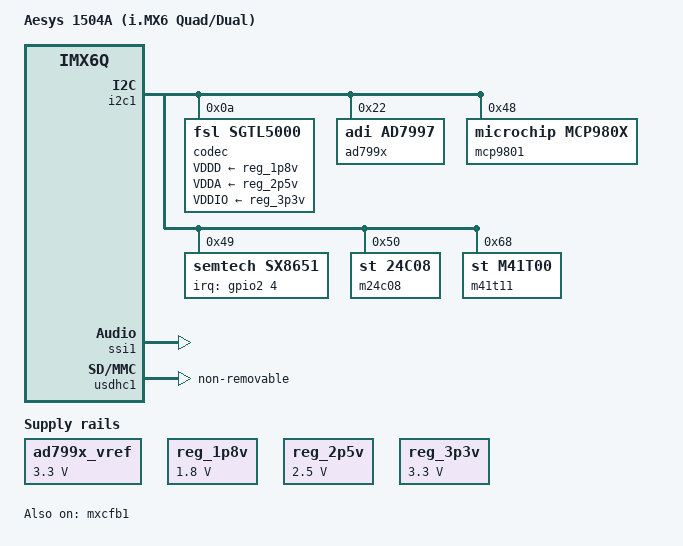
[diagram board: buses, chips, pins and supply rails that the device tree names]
/*
 * Copyright (C) 2013-2014 Freescale Semiconductor, Inc.
 *
 * This program is free software; you can redistribute it and/or modify
 * it under the terms of the GNU General Public License version 2 as
 * published by the Free Software Foundation.
 */

/dts-v1/;

#include "imx6q.dtsi"
#include "apollo-common.dtsi"

/ {
	model = "Aesys 1504A (i.MX6 Quad/Dual)";
	compatible = "aesys,imx6q-apollo", "umobo,imx6q-silverbullet", "fsl,imx6q";

	regulators {
		ad799x_vref: ad799x_3p3v {
			compatible = "regulator-fixed";
			regulator-name = "ad799x_vref";
			regulator-min-microvolt = <3300000>;
			regulator-max-microvolt = <3300000>;
		};

		reg_1p8v: 1p8v {
			compatible = "regulator-fixed";
			regulator-name = "1P8V";
			regulator-min-microvolt = <1800000>;
			regulator-max-microvolt = <1800000>;
			regulator-always-on;
		};

		reg_2p5v: 2p5v {
			compatible = "regulator-fixed";
			regulator-name = "2P5V";
			regulator-min-microvolt = <2500000>;
			regulator-max-microvolt = <2500000>;
			regulator-always-on;
		};

		reg_3p3v: 3p3v {
			compatible = "regulator-fixed";
			regulator-name = "3P3V";
			regulator-min-microvolt = <3300000>;
			regulator-max-microvolt = <3300000>;
			regulator-always-on;
		};
	};

	sound {
		compatible = "fsl,imx6q-sabrelite-sgtl5000",
			     "fsl,imx-audio-sgtl5000";
		model = "imx6q-sabrelite-sgtl5000";
		ssi-controller = <&ssi1>;
		audio-codec = <&codec>;
		audio-routing =
			"MIC_IN", "Mic Jack",
			"Mic Jack", "Mic Bias",
			"Headphone Jack", "HP_OUT";
		mux-int-port = <1>;
		mux-ext-port = <3>;
	};
};

&i2c1 {
	/* Freescale SGTL5000 Audio */
	codec: sgtl5000@0a {
		compatible = "fsl,sgtl5000";
		reg = <0x0a>;
		clocks = <&clks 201>;
		VDDD-supply = <&reg_1p8v>;
		VDDA-supply = <&reg_2p5v>;
		VDDIO-supply = <&reg_3p3v>;
	};

	/* Analog Devices AD7997 ADC */
	ad799x@22 {
		compatible = "adi,ad7997";
		reg = <0x22>;
		adi,vref = /bits/ 16 <3300>;
	};

	/* Microchip MCP9801 temperature sensor */
	mcp9801@48 {
		compatible = "microchip,mcp980x";
		reg = <0x48>;
	};

	/* Semtech SX8651 touchscreen */
	sx8651@49 {
		compatible = "semtech,sx8651";
		reg = <0x49>;
		interrupt-parent = <&gpio2>;
		interrupts = <4 IRQ_TYPE_EDGE_FALLING>;
	};

	/* ST M24C08 EEPROM */
	m24c08@50 {
		compatible = "st,24c08";
		reg = <0x50>;
	};

	/* ST M41T11 realtime clock */
	/* (using compatible driver for ST M41T00 */
	m41t11@68 {
		compatible = "st,m41t00";
		reg = <0x68>;
	};
};

&mxcfb1 {
	/* Set default LCD mode */
	compatible = "fsl,mxc_sdc_fb";
	disp_dev = "lcd";
	interface_pix_fmt = "RGB24";
	mode_str ="AMPIRE-AM480272MNTMQW-T00H";
	default_bpp = <16>;
	int_clk = <0>;
	late_init = <0>;
	status = "ok";
};

&ssi1 {
	fsl,mode = "i2s-slave";
	status = "okay";
};

&usdhc1 {
	non-removable;
	keep-power-in-suspend;
	enable-sdio-wakeup;
};
